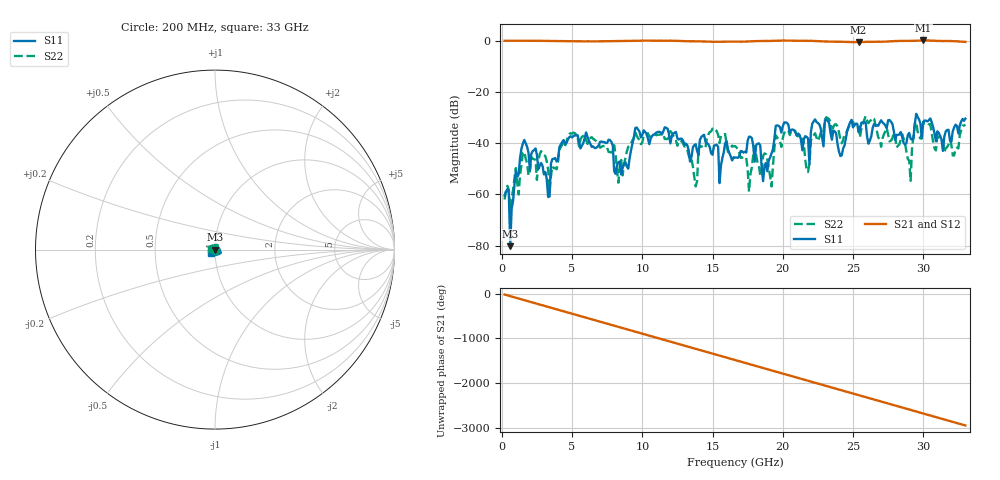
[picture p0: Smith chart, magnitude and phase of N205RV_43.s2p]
# GHZ S RI R 50
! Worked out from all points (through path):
!   329 points, 200 MHz to 33 GHz, reference 50 ohm
!   highest |S21| = 0.11 dB at 30 GHz (marker M1); lowest = -0.6 dB at 25.4 GHz (marker M2)
!   group delay of S21, straight-line fit = 248 ps
!   lowest |S11| = -80.3 dB at 600 MHz (marker M3), VSWR 1.00, Z = 50 - j0.00602 ohm
!   |S11| at or under -10 dB: start of sweep to end of sweep
!   |S22| runs from -68.0 to -29.5 dB; largest |S21 - S12| = 0.0019
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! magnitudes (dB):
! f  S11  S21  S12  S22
! 200 MHz  -60.5  0.0  0.0  -62.0
! 500 MHz  -59.5  0.0  0.0  -58.1
! 600 MHz  -80.3  0.0  0.0  -68.0
! 1.6 GHz  -38.7  0.0  0.0  -43.4
! 3.3 GHz  -61.0  -0.1  -0.1  -50.3
! 5.7 GHz  -41.1  -0.2  -0.2  -37.6
! 8.3 GHz  -47.5  -0.1  -0.1  -55.5
! 11.2 GHz  -35.6  0.0  0.0  -36.7
! 13.8 GHz  -40.4  -0.2  -0.2  -56.9
! 15 GHz  -44.5  -0.4  -0.4  -34.3
! 16.6 GHz  -45.6  -0.4  -0.4  -41.1
! 17.6 GHz  -37.4  -0.2  -0.2  -58.9
! 18.6 GHz  -54.9  -0.1  -0.1  -45.0
! 19.2 GHz  -44.0  0.0  0.0  -56.9
! 19.5 GHz  -33.3  0.0  0.0  -36.9
! 21.9 GHz  -48.2  0.0  0.0  -48.0
! 22.1 GHz  -32.5  -0.1  -0.1  -37.6
! 25.4 GHz  -35.7  -0.6  -0.6  -33.0
! 27.6 GHz  -31.0  -0.2  -0.2  -39.3
! 29.1 GHz  -38.2  0.0  0.0  -54.7
! 30 GHz  -31.8  0.1  0.1  -31.7
! 33 GHz  -30.4  -0.4  -0.4  -32.7
